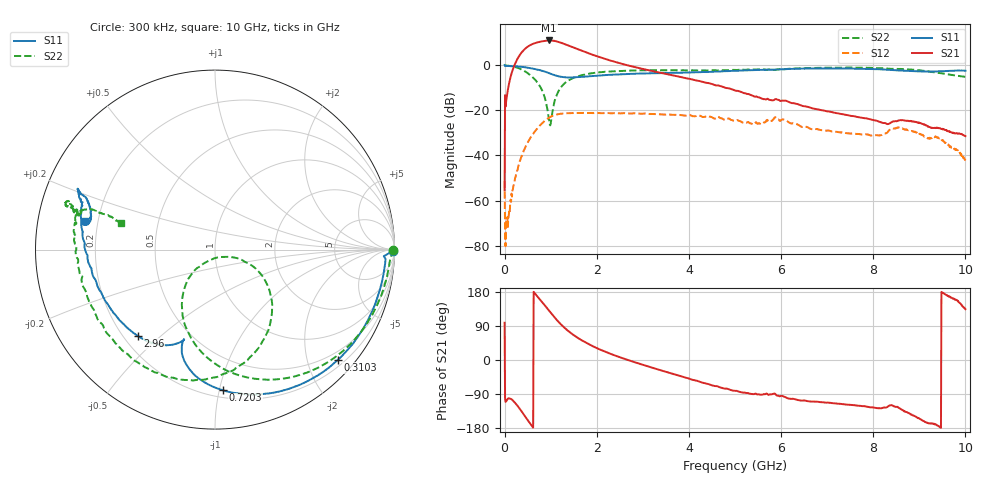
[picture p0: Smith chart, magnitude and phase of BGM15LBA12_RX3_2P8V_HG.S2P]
!Agilent Technologies,E5071C,MY46316587,B.13.01
!Date: Thu Dec 07 14:07:35 2017
!Data & Calibration Information:
!Freq	S11:SOLT2(ON)	S21:SOLT2(ON)	S12:SOLT2(ON)	S22:SOLT2(ON)
!PortZ  Port1:50+j0  Port2:50+j0
!Above PortZ is port z conversion or system Z0 setting when saving the data.
!When reading, reference impedance value at option line is always used.
# Hz S dB R 50
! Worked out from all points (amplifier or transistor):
!   1001 points, 300 kHz to 10 GHz, reference 50 ohm
!   highest |S21| = 10.8 dB at 970.3 MHz (marker M1)
!   |S21| within 3 dB of that: 485.9 MHz to 1.476 GHz (989.8 MHz wide, 101 % of centre)
!   unconditionally stable (mu >= 1): start of sweep to end of sweep
!   at 1.66 GHz: K = 1.42, MAG = 10.0 dB, |S12| = -21.3 dB
!   at 5 GHz: K = 6.00, MAG = -4.0 dB, |S12| = -24.8 dB
!   at 10 GHz: K = 715.87, MAG = -26.5 dB, |S12| = -41.7 dB
!   lowest NFmin = 1.07 dB at 750 MHz
!   S11 on the Smith chart (normalised r, x): 300 kHz: open; 310.3 MHz: 0.32, -2.57; 720.3 MHz: 0.25, -1.03; 2.96 GHz: 0.26, -0.42; 10 GHz: 0.15, +0.11
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300000  -0.07 -0.4  -55.47 98.3  -51.42 -175.2  -0.06 -0.1
6.02982e7  -0.46 -8.7  -12.29 -103.9  -67.36 102.9  -0.30 -11.5
1.902943e8  -0.57 -26.3  -1.36 -108.2  -53.60 157.6  -0.72 -34.9
3.102907e8  -0.73 -42.0  3.77 -125.7  -43.94 157.7  -1.48 -56.0
4.802856e8  -1.14 -62.6  7.74 -154.9  -35.15 145.0  -3.34 -84.0
6.00282e8  -1.57 -75.4  9.19 -175.2  -31.02 132.6  -5.29 -101.4
7.202784e8  -2.10 -86.6  10.05 166.3  -27.83 120.2  -8.03 -117.3
8.502745e8  -2.80 -97.1  10.60 147.6  -25.13 105.9  -13.11 -132.4
9.702709e8  -3.68 -104.4  10.83 129.4  -23.29 91.2  -25.26 -104.5
1.130266e9  -4.82 -108.8  10.39 105.9  -21.95 72.5  -13.43 -23.0
1.32026e9  -5.49 -109.1  9.08 82.8  -21.44 55.3  -7.83 -39.9
1.480256e9  -5.51 -109.1  7.80 67.3  -21.30 44.6  -5.87 -52.6
1.67025e9  -5.29 -110.0  6.29 52.2  -21.24 34.8  -4.56 -64.7
2.210234e9  -4.46 -117.1  2.46 20.5  -21.35 16.4  -2.98 -89.1
2.960211e9  -3.79 -131.8  -1.59 -11.0  -21.60 -2.8  -2.41 -112.8
3.3402e9  -3.63 -141.3  -3.27 -25.3  -21.80 -11.4  -2.37 -124.4
5.00015e9  -2.57 173.2  -11.29 -81.5  -24.81 -41.9  -2.24 179.9
5.890123e9  -2.05 160.5  -15.09 -91.9  -23.39 -49.3  -2.12 165.1
6.6701e9  -1.60 156.3  -19.17 -109.7  -28.46 -63.1  -1.34 161.7
8.34005e9  -2.16 157.9  -26.05 -120.4  -29.04 -46.7  -1.71 163.9
9.400018e9  -2.86 168.0  -27.77 -173.5  -31.95 -110.0  -3.47 162.4
1e10  -2.57 167.5  -31.50 134.2  -41.68 137.2  -5.25 164.1
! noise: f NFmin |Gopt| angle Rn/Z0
6.5e+08  1.187  0.4874  62.58  0.33
7e+08  1.085  0.5127  67.8  0.2717
7.5e+08  1.073  0.5208  69.96  0.2308
8e+08  1.1  0.5361  73.47  0.2307
8.5e+08  1.107  0.5158  79.61  0.2187
9e+08  1.13  0.5219  79.87  0.2222
9.5e+08  1.165  0.5558  80.13  0.2446
1e+09  1.183  0.472  82.64  0.2066
